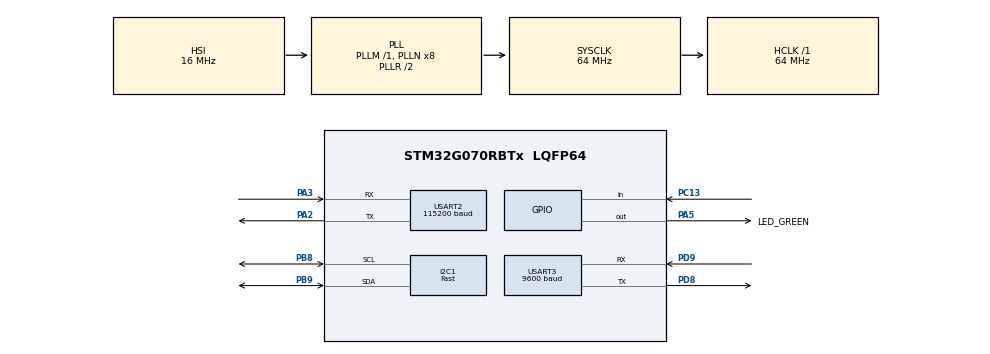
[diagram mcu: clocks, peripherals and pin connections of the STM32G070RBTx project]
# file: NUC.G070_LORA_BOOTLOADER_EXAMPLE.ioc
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CRC.DefaultInitValueUse=DEFAULT_INIT_VALUE_ENABLE
CRC.DefaultPolynomialUse=DEFAULT_POLYNOMIAL_ENABLE
CRC.InputDataFormat=CRC_INPUTDATA_FORMAT_WORDS
I2C1.I2C_Speed_Mode=I2C_Fast
I2C1.Timing=0x00602173
Mcu.Family=STM32G0
Mcu.Name=STM32G070RBTx
Mcu.Package=LQFP64
PA13.GPIO_Label=TMS
PA13.Mode=Serial_Wire
PA13.Signal=SYS_SWDIO
PA14-BOOT0.GPIO_Label=TCK
PA14-BOOT0.Mode=Serial_Wire
PA14-BOOT0.Signal=SYS_SWCLK
PA2.GPIO_PuPd=GPIO_PULLUP
PA2.Mode=Asynchronous
PA2.Signal=USART2_TX
PA3.GPIO_PuPd=GPIO_PULLUP
PA3.Mode=Asynchronous
PA3.Signal=USART2_RX
PA5.GPIO_Label=LED_GREEN
PA5.GPIO_Speed=GPIO_SPEED_FREQ_HIGH
PA5.Signal=GPIO_Output
PB8.Mode=I2C
PB8.Signal=I2C1_SCL
PB9.Mode=I2C
PB9.Signal=I2C1_SDA
PC13.GPIO_PuPd=GPIO_PULLDOWN
PC13.Signal=GPIO_Input
PC14-OSC32_IN\ (PC14).Mode=LSE-External-Oscillator
PC14-OSC32_IN\ (PC14).Signal=RCC_OSC32_IN
PC15-OSC32_OUT\ (PC15).Mode=LSE-External-Oscillator
PC15-OSC32_OUT\ (PC15).Signal=RCC_OSC32_OUT
PD8.Mode=Asynchronous
PD8.Signal=USART3_TX
PD9.Mode=Asynchronous
PD9.Signal=USART3_RX
PF0-OSC_IN\ (PF0).GPIO_Label=MCO
PF0-OSC_IN\ (PF0).Mode=HSE-External-Clock-Source
PF0-OSC_IN\ (PF0).Signal=RCC_OSC_IN
ProjectManager.HeapSize=0x200
ProjectManager.StackSize=0x400
ProjectManager.TargetToolchain=STM32CubeIDE
RCC.ADCFreq_Value=64000000
RCC.AHBFreq_Value=64000000
RCC.CortexFreq_Value=64000000
RCC.EXTERNAL_CLOCK_VALUE=12288000
RCC.HCLKFreq_Value=64000000
RCC.HSE_VALUE=8000000
RCC.HSI_VALUE=16000000
RCC.SYSCLKFreq_VALUE=64000000
RCC.SYSCLKSource=RCC_SYSCLKSOURCE_PLLCLK
RCC.VCOOutputFreq_Value=128000000
USART2.BaudRate=115200
USART2.VirtualMode-Asynchronous=VM_ASYNC
USART2.WordLength=WORDLENGTH_8B
USART3.BaudRate=9600
USART3.VirtualMode-Asynchronous=VM_ASYNC
VP_CRC_VS_CRC.Mode=CRC_Activate
board=NUCLEO-G070RB

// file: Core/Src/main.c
/* USER CODE BEGIN Header */
/**
  ******************************************************************************
  * @file           : main.c
  * @brief          : Main program body
  ******************************************************************************
  * @attention
  *
  * Copyright (c) 2023 STMicroelectronics.
  * All rights reserved.
  *
  * This software is licensed under terms that can be found in the LICENSE file
  * in the root directory of this software component.
  * If no LICENSE file comes with this software, it is provided AS-IS.
  *
  ******************************************************************************
  */
/* USER CODE END Header */
#include "main.h"

/* USER CODE BEGIN Includes */
#include "bootloader_command_code.h"
#include "bootloader_command_app.h"
#include "stdarg.h"
#include "stdio.h"
#include "string.h"
#include "ssd1306.h"
#include "fonts.h"
/* USER CODE END Includes */

/* USER CODE BEGIN PD */
#define FLASH_SECTOR2_BASE_ADDRESS 0x08008000

#define BL_RX_DATA_LENGTH 266
/* USER CODE END PD */

CRC_HandleTypeDef hcrc;

I2C_HandleTypeDef hi2c1;

UART_HandleTypeDef huart2;
UART_HandleTypeDef huart3;

/* USER CODE BEGIN PV */
uint8_t bootloader_rx_data[BL_RX_DATA_LENGTH];

/* USER CODE END PV */

void SystemClock_Config(void);
static void MX_GPIO_Init(void);
static void MX_USART2_UART_Init(void);
static void MX_CRC_Init(void);
static void MX_I2C1_Init(void);
static void MX_USART3_UART_Init(void);

/* USER CODE BEGIN 0 */
void printMessage(char *format, ...) {
	char comingMessage[100] = { 0 };
	//SSD1306_Init();

	va_list vaList;
	va_start(vaList, format);
	vsprintf(comingMessage, format, vaList);
	//SSD1306_Clear();
	SSD1306_GotoXY(0, 0);
	SSD1306_Puts(comingMessage, &Font_7x10, 1);
	SSD1306_UpdateScreen(); //display

	va_end(vaList);
}

void bootloader_uart_data_read(void) {
	uint8_t bl_rx_length = 0;

	while (1) {
		memset(bootloader_rx_data, 0, BL_RX_DATA_LENGTH);

		HAL_UART_Receive(&huart3, bootloader_rx_data, 1, HAL_MAX_DELAY);

		bl_rx_length = bootloader_rx_data[0];

		HAL_UART_Receive(&huart3, &bootloader_rx_data[1], bl_rx_length, HAL_MAX_DELAY);

		switch (bootloader_rx_data[1]) {
		case BL_GET_VER:/*CALISIYOR CRC düzeltmesi yapıldı*/
			bootloader_get_ver_cmd(bootloader_rx_data); //calisiyor
			break;
		case BL_GET_HELP:/*CALISIYOR CRC düzeltmesi yapıldı test edilecek */
			bootloader_get_help_cmd(bootloader_rx_data); //calıisiyor
			break;
		case BL_GET_CID:/*CALISIYOR*/
			bootloader_get_cid_cmd(bootloader_rx_data); //calıisiyor
			break;
		case BL_GET_RDP_STATUS:/*CALISIYOR*/
			bootloader_get_rdp_cmd(bootloader_rx_data);// calısiyor
			break;
		case BL_GO_TO_ADDR:/*CALISIYOR*/
			bootloader_go_to_addr_cmd(bootloader_rx_data);// calısiyor
			break;
			/*	Once page sonra ondan sonraki kaç tane page silincek ise o girilecek  */
		case BL_FLASH_ERASE:/*CALISIYOR*/
			bootloader_flash_erase_cmd(bootloader_rx_data);
			break;
			/*	Yazma yapılmadan önce kullanılacak pageler flash erase yapılacak*/
		case BL_MEM_WRITE:/*CALISIYOR*/
			bootloader_mem_write_cmd(bootloader_rx_data);
			break;
		case BL_EN_RW_PROTECT:
			bootloader_enable_read_write_protect_cmd(bootloader_rx_data);
			break;
		case BL_DIS_R_W_PROTECT:
			bootloader_disable_read_write_protect_cmd(bootloader_rx_data);
		default:
			break;
		}
	}
}

void bootloader_jump_to_user_application(void) {
	//  Kesmeleri kapa
	/*__disable_irq();// __disable_irq deyince hal_delay çalışmıyor!!!!!*/

	printMessage("bootloader_jump_to_user_application() \n");

	//  MSP'nin değerini tut
	uint32_t mspValue = *(volatile uint32_t*) FLASH_SECTOR2_BASE_ADDRESS;
	printMessage("MSP Value: %#x \n", mspValue);

	// Sıfırlama işleyicisinin değerini tut
	uint32_t resetValue = *(volatile uint32_t*) (FLASH_SECTOR2_BASE_ADDRESS + 4);
	printMessage("Reset Value: %#x \n", resetValue);

	//  Periferleri sıfırla ve devre dışı bırak

	SCB->VTOR = FLASH_SECTOR2_BASE_ADDRESS;
	//__set_MSP(mspValue);	// Bu fonksiyon F407 De calisiyordu ama
	//L053 de çalışmıyor
	SysTick->CTRL = 0;
	SysTick->LOAD = 0;
	SysTick->VAL = 0;
	HAL_I2C_DeInit(&hi2c1);
	HAL_UART_MspDeInit(&huart3);
	HAL_GPIO_DeInit(GPIOC, GPIO_PIN_13);

	HAL_CRC_DeInit(&hcrc);
	HAL_RCC_DeInit();

	HAL_DeInit();
	uint32_t go_address =
			*((volatile uint32_t*) (FLASH_SECTOR2_BASE_ADDRESS + 4));
	void (*jump_to_app)(void) = (void *)go_address;
	jump_to_app();

}
/* USER CODE END 0 */

int main(void)
{

  /* MCU Configuration--------------------------------------------------------*/

  /* Reset of all peripherals, Initializes the Flash interface and the Systick. */
  HAL_Init();

  /* Configure the system clock */
  SystemClock_Config();

  /* Initialize all configured peripherals */
  MX_GPIO_Init();
  MX_USART2_UART_Init();
  MX_CRC_Init();
  MX_I2C1_Init();
  MX_USART3_UART_Init();
  /* USER CODE BEGIN 2 */
  SSD1306_Init();
  	SSD1306_GotoXY(0, 0);
  	SSD1306_Clear();
  	if (HAL_GPIO_ReadPin(GPIOC, GPIO_PIN_13) == GPIO_PIN_RESET) {
  		printMessage(" Going to bootloader mode.\n");

  		bootloader_uart_data_read();
  	} else {
  		printMessage(" Executing user application.\n");

  		bootloader_jump_to_user_application();
  	}
  /* USER CODE END 2 */

  /* Infinite loop */
  while (1)
  {

  }
}

void SystemClock_Config(void)
{
  RCC_OscInitTypeDef RCC_OscInitStruct = {0};
  RCC_ClkInitTypeDef RCC_ClkInitStruct = {0};

  /** Configure the main internal regulator output voltage
  */
  HAL_PWREx_ControlVoltageScaling(PWR_REGULATOR_VOLTAGE_SCALE1);

  /** Initializes the RCC Oscillators according to the specified parameters
  * in the RCC_OscInitTypeDef structure.
  */
  RCC_OscInitStruct.OscillatorType = RCC_OSCILLATORTYPE_HSI;
  RCC_OscInitStruct.HSIState = RCC_HSI_ON;
  RCC_OscInitStruct.HSIDiv = RCC_HSI_DIV1;
  RCC_OscInitStruct.HSICalibrationValue = RCC_HSICALIBRATION_DEFAULT;
  RCC_OscInitStruct.PLL.PLLState = RCC_PLL_ON;
  RCC_OscInitStruct.PLL.PLLSource = RCC_PLLSOURCE_HSI;
  RCC_OscInitStruct.PLL.PLLM = RCC_PLLM_DIV1;
  RCC_OscInitStruct.PLL.PLLN = 8;
  RCC_OscInitStruct.PLL.PLLP = RCC_PLLP_DIV2;
  RCC_OscInitStruct.PLL.PLLR = RCC_PLLR_DIV2;
  if (HAL_RCC_OscConfig(&RCC_OscInitStruct) != HAL_OK)
  {
    Error_Handler();
  }

  /** Initializes the CPU, AHB and APB buses clocks
  */
  RCC_ClkInitStruct.ClockType = RCC_CLOCKTYPE_HCLK|RCC_CLOCKTYPE_SYSCLK
                              |RCC_CLOCKTYPE_PCLK1;
  RCC_ClkInitStruct.SYSCLKSource = RCC_SYSCLKSOURCE_PLLCLK;
  RCC_ClkInitStruct.AHBCLKDivider = RCC_SYSCLK_DIV1;
  RCC_ClkInitStruct.APB1CLKDivider = RCC_HCLK_DIV1;

  if (HAL_RCC_ClockConfig(&RCC_ClkInitStruct, FLASH_LATENCY_2) != HAL_OK)
  {
    Error_Handler();
  }
}

static void MX_CRC_Init(void)
{

  hcrc.Instance = CRC;
  hcrc.Init.DefaultPolynomialUse = DEFAULT_POLYNOMIAL_ENABLE;
  hcrc.Init.DefaultInitValueUse = DEFAULT_INIT_VALUE_ENABLE;
  hcrc.Init.InputDataInversionMode = CRC_INPUTDATA_INVERSION_NONE;
  hcrc.Init.OutputDataInversionMode = CRC_OUTPUTDATA_INVERSION_DISABLE;
  hcrc.InputDataFormat = CRC_INPUTDATA_FORMAT_WORDS;
  if (HAL_CRC_Init(&hcrc) != HAL_OK)
  {
    Error_Handler();
  }

}

static void MX_I2C1_Init(void)
{

  hi2c1.Instance = I2C1;
  hi2c1.Init.Timing = 0x00602173;
  hi2c1.Init.OwnAddress1 = 0;
  hi2c1.Init.AddressingMode = I2C_ADDRESSINGMODE_7BIT;
  hi2c1.Init.DualAddressMode = I2C_DUALADDRESS_DISABLE;
  hi2c1.Init.OwnAddress2 = 0;
  hi2c1.Init.OwnAddress2Masks = I2C_OA2_NOMASK;
  hi2c1.Init.GeneralCallMode = I2C_GENERALCALL_DISABLE;
  hi2c1.Init.NoStretchMode = I2C_NOSTRETCH_DISABLE;
  if (HAL_I2C_Init(&hi2c1) != HAL_OK)
  {
    Error_Handler();
  }

  /** Configure Analogue filter
  */
  if (HAL_I2CEx_ConfigAnalogFilter(&hi2c1, I2C_ANALOGFILTER_ENABLE) != HAL_OK)
  {
    Error_Handler();
  }

  /** Configure Digital filter
  */
  if (HAL_I2CEx_ConfigDigitalFilter(&hi2c1, 0) != HAL_OK)
  {
    Error_Handler();
  }

}

static void MX_USART2_UART_Init(void)
{

  huart2.Instance = USART2;
  huart2.Init.BaudRate = 115200;
  huart2.Init.WordLength = UART_WORDLENGTH_8B;
  huart2.Init.StopBits = UART_STOPBITS_1;
  huart2.Init.Parity = UART_PARITY_NONE;
  huart2.Init.Mode = UART_MODE_TX_RX;
  huart2.Init.HwFlowCtl = UART_HWCONTROL_NONE;
  huart2.Init.OverSampling = UART_OVERSAMPLING_16;
  huart2.Init.OneBitSampling = UART_ONE_BIT_SAMPLE_DISABLE;
  huart2.Init.ClockPrescaler = UART_PRESCALER_DIV1;
  huart2.AdvancedInit.AdvFeatureInit = UART_ADVFEATURE_NO_INIT;
  if (HAL_UART_Init(&huart2) != HAL_OK)
  {
    Error_Handler();
  }
  if (HAL_UARTEx_SetTxFifoThreshold(&huart2, UART_TXFIFO_THRESHOLD_1_8) != HAL_OK)
  {
    Error_Handler();
  }
  if (HAL_UARTEx_SetRxFifoThreshold(&huart2, UART_RXFIFO_THRESHOLD_1_8) != HAL_OK)
  {
    Error_Handler();
  }
  if (HAL_UARTEx_DisableFifoMode(&huart2) != HAL_OK)
  {
    Error_Handler();
  }

}

static void MX_USART3_UART_Init(void)
{

  huart3.Instance = USART3;
  huart3.Init.BaudRate = 9600;
  huart3.Init.WordLength = UART_WORDLENGTH_8B;
  huart3.Init.StopBits = UART_STOPBITS_1;
  huart3.Init.Parity = UART_PARITY_NONE;
  huart3.Init.Mode = UART_MODE_TX_RX;
  huart3.Init.HwFlowCtl = UART_HWCONTROL_NONE;
  huart3.Init.OverSampling = UART_OVERSAMPLING_16;
  huart3.Init.OneBitSampling = UART_ONE_BIT_SAMPLE_DISABLE;
  huart3.Init.ClockPrescaler = UART_PRESCALER_DIV1;
  huart3.AdvancedInit.AdvFeatureInit = UART_ADVFEATURE_NO_INIT;
  if (HAL_UART_Init(&huart3) != HAL_OK)
  {
    Error_Handler();
  }

}

static void MX_GPIO_Init(void)
{
  GPIO_InitTypeDef GPIO_InitStruct = {0};

  /* GPIO Ports Clock Enable */
  __HAL_RCC_GPIOC_CLK_ENABLE();
  __HAL_RCC_GPIOF_CLK_ENABLE();
  __HAL_RCC_GPIOA_CLK_ENABLE();
  __HAL_RCC_GPIOD_CLK_ENABLE();
  __HAL_RCC_GPIOB_CLK_ENABLE();

  /*Configure GPIO pin Output Level */
  HAL_GPIO_WritePin(LED_GREEN_GPIO_Port, LED_GREEN_Pin, GPIO_PIN_RESET);

  /*Configure GPIO pin : PC13 */
  GPIO_InitStruct.Pin = GPIO_PIN_13;
  GPIO_InitStruct.Mode = GPIO_MODE_INPUT;
  GPIO_InitStruct.Pull = GPIO_PULLDOWN;
  HAL_GPIO_Init(GPIOC, &GPIO_InitStruct);

  /*Configure GPIO pin : LED_GREEN_Pin */
  GPIO_InitStruct.Pin = LED_GREEN_Pin;
  GPIO_InitStruct.Mode = GPIO_MODE_OUTPUT_PP;
  GPIO_InitStruct.Pull = GPIO_NOPULL;
  GPIO_InitStruct.Speed = GPIO_SPEED_FREQ_HIGH;
  HAL_GPIO_Init(LED_GREEN_GPIO_Port, &GPIO_InitStruct);

}

void Error_Handler(void)
{
  __disable_irq();
  while (1)
  {
  }
}
